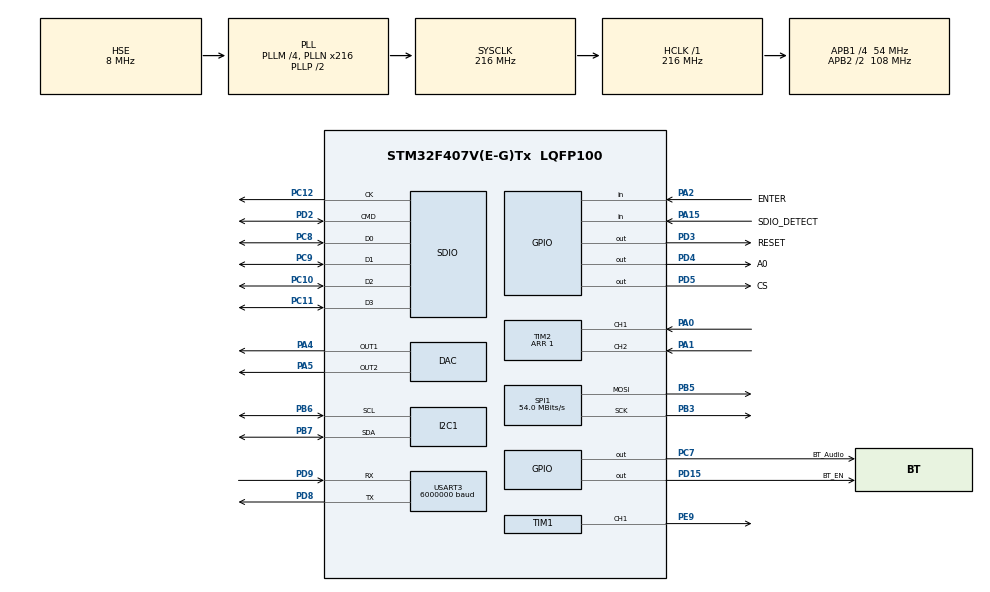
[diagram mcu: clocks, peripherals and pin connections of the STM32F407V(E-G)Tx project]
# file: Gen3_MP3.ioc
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DAC.DAC_Trigger=DAC_TRIGGER_T6_TRGO
DAC.DAC_Trigger2=DAC_TRIGGER_T6_TRGO
Dma.DAC1.2.Direction=DMA_MEMORY_TO_PERIPH
Dma.DAC1.2.FIFOMode=DMA_FIFOMODE_DISABLE
Dma.DAC1.2.Instance=DMA1_Stream5
Dma.DAC1.2.MemDataAlignment=DMA_MDATAALIGN_WORD
Dma.DAC1.2.MemInc=DMA_MINC_ENABLE
Dma.DAC1.2.Mode=DMA_CIRCULAR
Dma.DAC1.2.PeriphDataAlignment=DMA_PDATAALIGN_WORD
Dma.DAC1.2.PeriphInc=DMA_PINC_DISABLE
Dma.DAC1.2.Priority=DMA_PRIORITY_VERY_HIGH
Dma.Request0=USART3_TX
Dma.Request1=SPI1_TX
Dma.Request2=DAC1
Dma.Request3=SDIO_RX
Dma.Request4=SDIO_TX
Dma.SDIO_RX.3.Direction=DMA_PERIPH_TO_MEMORY
Dma.SDIO_RX.3.FIFOMode=DMA_FIFOMODE_ENABLE
Dma.SDIO_RX.3.FIFOThreshold=DMA_FIFO_THRESHOLD_FULL
Dma.SDIO_RX.3.Instance=DMA2_Stream6
Dma.SDIO_RX.3.MemBurst=DMA_MBURST_INC4
Dma.SDIO_RX.3.MemDataAlignment=DMA_MDATAALIGN_BYTE
Dma.SDIO_RX.3.MemInc=DMA_MINC_ENABLE
Dma.SDIO_RX.3.Mode=DMA_PFCTRL
Dma.SDIO_RX.3.PeriphBurst=DMA_PBURST_INC4
Dma.SDIO_RX.3.PeriphDataAlignment=DMA_PDATAALIGN_WORD
Dma.SDIO_RX.3.PeriphInc=DMA_PINC_DISABLE
Dma.SDIO_RX.3.Priority=DMA_PRIORITY_HIGH
Dma.SDIO_TX.4.Direction=DMA_MEMORY_TO_PERIPH
Dma.SDIO_TX.4.FIFOMode=DMA_FIFOMODE_ENABLE
Dma.SDIO_TX.4.FIFOThreshold=DMA_FIFO_THRESHOLD_FULL
Dma.SDIO_TX.4.Instance=DMA2_Stream3
Dma.SDIO_TX.4.MemBurst=DMA_MBURST_INC4
Dma.SDIO_TX.4.MemDataAlignment=DMA_MDATAALIGN_WORD
Dma.SDIO_TX.4.MemInc=DMA_MINC_ENABLE
Dma.SDIO_TX.4.Mode=DMA_PFCTRL
Dma.SDIO_TX.4.PeriphBurst=DMA_PBURST_INC4
Dma.SDIO_TX.4.PeriphDataAlignment=DMA_PDATAALIGN_WORD
Dma.SDIO_TX.4.PeriphInc=DMA_PINC_DISABLE
Dma.SDIO_TX.4.Priority=DMA_PRIORITY_HIGH
Dma.SPI1_TX.1.Direction=DMA_MEMORY_TO_PERIPH
Dma.SPI1_TX.1.FIFOMode=DMA_FIFOMODE_DISABLE
Dma.SPI1_TX.1.Instance=DMA2_Stream5
Dma.SPI1_TX.1.MemDataAlignment=DMA_MDATAALIGN_HALFWORD
Dma.SPI1_TX.1.MemInc=DMA_MINC_ENABLE
Dma.SPI1_TX.1.Mode=DMA_NORMAL
Dma.SPI1_TX.1.PeriphDataAlignment=DMA_PDATAALIGN_HALFWORD
Dma.SPI1_TX.1.PeriphInc=DMA_PINC_DISABLE
Dma.SPI1_TX.1.Priority=DMA_PRIORITY_LOW
Dma.USART3_TX.0.Direction=DMA_MEMORY_TO_PERIPH
Dma.USART3_TX.0.FIFOMode=DMA_FIFOMODE_DISABLE
Dma.USART3_TX.0.Instance=DMA1_Stream3
Dma.USART3_TX.0.MemDataAlignment=DMA_MDATAALIGN_BYTE
Dma.USART3_TX.0.MemInc=DMA_MINC_ENABLE
Dma.USART3_TX.0.Mode=DMA_NORMAL
Dma.USART3_TX.0.PeriphDataAlignment=DMA_PDATAALIGN_BYTE
Dma.USART3_TX.0.PeriphInc=DMA_PINC_DISABLE
Dma.USART3_TX.0.Priority=DMA_PRIORITY_LOW
FATFS.BSP.number=1
FATFS._CODE_PAGE=850
FATFS._FS_LOCK=0
FATFS._FS_READONLY=1
FATFS._LFN_UNICODE=0
FATFS._MAX_LFN=64
FATFS._MAX_SS=4096
FATFS._USE_LFN=3
FATFS._USE_MKFS=0
FATFS0.BSP.STBoard=false
FATFS0.BSP.api=Unknown
FATFS0.BSP.instance=PA15
FATFS0.BSP.ip=GPIO
FATFS0.BSP.mode=Input
FATFS0.BSP.name=Detect_SDIO
FATFS0.BSP.solution=PA15
FREERTOS.BinarySemaphores01=myBinarySem01,Dynamic,NULL
FREERTOS.Tasks01=defaultTask,8,1024,StartDefaultTask,Default,NULL,Dynamic,NULL,NULL;myTaskKey,9,128,StartTaskKey,Default,NULL,Dynamic,NULL,NULL
FREERTOS.configENABLE_FPU=1
FREERTOS.configGENERATE_RUN_TIME_STATS=1
FREERTOS.configIDLE_SHOULD_YIELD=0
FREERTOS.configRECORD_STACK_HIGH_ADDRESS=1
FREERTOS.configTOTAL_HEAP_SIZE=50000
FREERTOS.configUSE_MALLOC_FAILED_HOOK=1
FREERTOS.configUSE_NEWLIB_REENTRANT=1
FREERTOS.configUSE_OS2_MUTEX=1
FREERTOS.configUSE_OS2_TIMER=1
FREERTOS.configUSE_STATS_FORMATTING_FUNCTIONS=1
FREERTOS.configUSE_TRACE_FACILITY=1
Mcu.Family=STM32F4
Mcu.Name=STM32F407V(E-G)Tx
Mcu.Package=LQFP100
NVIC.DMA1_Stream3_IRQn=true\:5\:0\:false\:false\:true\:true\:false\:true\:true
NVIC.DMA1_Stream5_IRQn=true\:5\:0\:true\:false\:false\:true\:false\:true\:true
NVIC.DMA2_Stream3_IRQn=true\:5\:0\:true\:false\:true\:true\:false\:true\:true
NVIC.DMA2_Stream5_IRQn=true\:5\:0\:false\:false\:true\:false\:false\:true\:true
NVIC.DMA2_Stream6_IRQn=true\:5\:0\:false\:false\:true\:true\:false\:true\:true
NVIC.PriorityGroup=NVIC_PRIORITYGROUP_4
NVIC.SDIO_IRQn=true\:5\:0\:false\:false\:true\:true\:true\:true\:true
NVIC.TIM1_TRG_COM_TIM11_IRQn=true\:5\:0\:false\:false\:true\:true\:true\:true\:true
NVIC.TIM2_IRQn=true\:15\:0\:true\:false\:false\:true\:true\:true\:true
NVIC.TIM8_TRG_COM_TIM14_IRQn=true\:15\:0\:false\:false\:true\:false\:false\:true\:true
NVIC.TimeBase=TIM8_TRG_COM_TIM14_IRQn
NVIC.TimeBaseIP=TIM14
NVIC.USART3_IRQn=true\:5\:0\:false\:false\:true\:true\:true\:true\:true
PA0-WKUP.Signal=S_TIM2_CH1_ETR
PA1.Signal=S_TIM2_CH2
PA13.Mode=Serial_Wire
PA13.Signal=SYS_JTMS-SWDIO
PA14.Mode=Serial_Wire
PA14.Signal=SYS_JTCK-SWCLK
PA15.GPIO_Label=SDIO_DETECT
PA15.GPIO_PuPd=GPIO_PULLDOWN
PA15.Signal=GPIO_Input
PA2.GPIO_Label=ENTER
PA2.Signal=GPIO_Input
PA4.Signal=COMP_DAC1_group
PA5.Signal=COMP_DAC2_group
PB3.Mode=TX_Only_Simplex_Unidirect_Master
PB3.Signal=SPI1_SCK
PB5.Mode=TX_Only_Simplex_Unidirect_Master
PB5.Signal=SPI1_MOSI
PB6.Mode=I2C
PB6.Signal=I2C1_SCL
PB7.Mode=I2C
PB7.Signal=I2C1_SDA
PC10.GPIO_PuPd=GPIO_PULLUP
PC10.Mode=SD_4_bits_Wide_bus
PC10.Signal=SDIO_D2
PC11.GPIO_PuPd=GPIO_PULLUP
PC11.Mode=SD_4_bits_Wide_bus
PC11.Signal=SDIO_D3
PC12.GPIO_PuPd=GPIO_PULLUP
PC12.Mode=SD_4_bits_Wide_bus
PC12.Signal=SDIO_CK
PC7.GPIO_Label=BT_Audio
PC7.Signal=GPIO_Output
PC8.GPIO_PuPd=GPIO_PULLUP
PC8.Mode=SD_4_bits_Wide_bus
PC8.Signal=SDIO_D0
PC9.GPIO_PuPd=GPIO_PULLUP
PC9.Mode=SD_4_bits_Wide_bus
PC9.Signal=SDIO_D1
PD15.GPIO_Label=BT_EN
PD15.Signal=GPIO_Output
PD2.GPIO_PuPd=GPIO_PULLUP
PD2.Mode=SD_4_bits_Wide_bus
PD2.Signal=SDIO_CMD
PD3.GPIO_Label=RESET
PD3.Signal=GPIO_Output
PD4.GPIO_Label=A0
PD4.Signal=GPIO_Output
PD5.GPIO_Label=CS
PD5.Signal=GPIO_Output
PD8.Mode=Asynchronous
PD8.Signal=USART3_TX
PD9.Mode=Asynchronous
PD9.Signal=USART3_RX
PE9.Signal=S_TIM1_CH1
PH0-OSC_IN.Mode=HSE-External-Oscillator
PH0-OSC_IN.Signal=RCC_OSC_IN
PH1-OSC_OUT.Mode=HSE-External-Oscillator
PH1-OSC_OUT.Signal=RCC_OSC_OUT
ProjectManager.HeapSize=0x00
ProjectManager.StackSize=0x800
ProjectManager.TargetToolchain=STM32CubeIDE
RCC.48MHZClocksFreq_Value=48000000
RCC.AHBFreq_Value=216000000
RCC.APB1CLKDivider=RCC_HCLK_DIV4
RCC.APB1Freq_Value=54000000
RCC.APB1TimFreq_Value=108000000
RCC.APB2CLKDivider=RCC_HCLK_DIV2
RCC.APB2Freq_Value=108000000
RCC.APB2TimFreq_Value=216000000
RCC.CortexFreq_Value=216000000
RCC.HCLKFreq_Value=216000000
RCC.HSE_VALUE=8000000
RCC.HSI_VALUE=16000000
RCC.LSE_VALUE=32768
RCC.PLLM=4
RCC.PLLN=216
RCC.PLLQ=9
RCC.PLLSourceVirtual=RCC_PLLSOURCE_HSE
RCC.SYSCLKFreq_VALUE=216000000
RCC.SYSCLKSource=RCC_SYSCLKSOURCE_PLLCLK
RCC.VCOOutputFreq_Value=432000000
SDIO.ClockBypass=SDIO_CLOCK_BYPASS_ENABLE
SDIO.ClockDiv=4
SDIO.ClockPowerSave=SDIO_CLOCK_POWER_SAVE_DISABLE
SDIO.HardwareFlowControl=SDIO_HARDWARE_FLOW_CONTROL_DISABLE
SH.COMP_DAC1_group.0=DAC_OUT1,DAC_OUT1
SH.COMP_DAC2_group.0=DAC_OUT2,DAC_OUT2
SH.S_TIM1_CH1.0=TIM1_CH1,PWM Generation1 CH1
SH.S_TIM2_CH1_ETR.0=TIM2_CH1,Encoder_Interface
SH.S_TIM2_CH2.0=TIM2_CH2,Encoder_Interface
SPI1.BaudRatePrescaler=SPI_BAUDRATEPRESCALER_2
SPI1.CLKPolarity=SPI_POLARITY_HIGH
SPI1.CalculateBaudRate=54.0 MBits/s
SPI1.Direction=SPI_DIRECTION_2LINES
SPI1.Mode=SPI_MODE_MASTER
SPI1.VirtualType=VM_MASTER
TIM1.Channel-PWM\ Generation1\ CH1=TIM_CHANNEL_1
TIM1.Period=255
TIM1.Prescaler=216
TIM12.Period=1000
TIM12.Prescaler=107
TIM2.IC1Filter=15
TIM2.IC1Prescaler=TIM_ICPSC_DIV8
TIM2.IC2Filter=15
TIM2.IC2Prescaler=TIM_ICPSC_DIV8
TIM2.Period=1
TIM2.TIM_MasterOutputTrigger=TIM_TRGO_UPDATE
TIM3.Period=50000
TIM3.Prescaler=215
TIM3.TIM_MasterOutputTrigger=TIM_TRGO_UPDATE
TIM6.Period=216
TIM6.TIM_MasterOutputTrigger=TIM_TRGO_UPDATE
USART3.BaudRate=6000000
USART3.Mode=MODE_TX
USART3.OverSampling=UART_OVERSAMPLING_8
USART3.StopBits=STOPBITS_2
USART3.VirtualMode=VM_ASYNC
VP_CRC_VS_CRC.Mode=CRC_Activate
VP_FATFS_VS_SDIO.Mode=SDIO
VP_FREERTOS_VS_CMSIS_V2.Mode=CMSIS_V2
VP_SYS_VS_tim14.Mode=TIM14
VP_TIM12_VS_ClockSourceINT.Mode=Internal
VP_TIM1_VS_ClockSourceINT.Mode=Internal
VP_TIM3_VS_ClockSourceINT.Mode=Internal
VP_TIM5_VS_ClockSourceINT.Mode=Internal
VP_TIM6_VS_ClockSourceINT.Mode=Enable_Timer
board=custom

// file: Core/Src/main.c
/* USER CODE BEGIN Header */
/**
  ******************************************************************************
  * @file           : main.c
  * @brief          : Main program body
  ******************************************************************************
  * @attention
  *
  * Copyright (c) 2022 STMicroelectronics.
  * All rights reserved.
  *
  * This software is licensed under terms that can be found in the LICENSE file
  * in the root directory of this software component.
  * If no LICENSE file comes with this software, it is provided AS-IS.
  *
  ******************************************************************************
  */
/* USER CODE END Header */
#include "main.h"
#include "cmsis_os.h"
#include "crc.h"
#include "dac.h"
#include "dma.h"
#include "fatfs.h"
#include "i2c.h"
#include "sdio.h"
#include "spi.h"
#include "tim.h"
#include "usart.h"
#include "gpio.h"

/* USER CODE BEGIN Includes */
#include "mp3dec.h"
extern void main_cpp(void);
uint16_t res;
/* USER CODE END Includes */

void SystemClock_Config(void);
void MX_FREERTOS_Init(void);

int main(void)
{
  /* USER CODE BEGIN 1 */
	__disable_irq(); //????????? ??????????
	//SCB->VTOR = 0x8060000;
	SCB->VTOR = 0x8040000;

	uint32_t *p;
	p = (uint32_t *)(0x10000000);
	int count = 16384;
	while(count--)
		*p++ = 0;

	__enable_irq(); //????????? ??????????
  /* USER CODE END 1 */

  /* MCU Configuration--------------------------------------------------------*/

  /* Reset of all peripherals, Initializes the Flash interface and the Systick. */
  HAL_Init();

  /* Configure the system clock */
  SystemClock_Config();

  /* USER CODE BEGIN SysInit */
  MX_DMA_Init();
  /* USER CODE END SysInit */

  /* Initialize all configured peripherals */
  MX_GPIO_Init();
  MX_DMA_Init();
  MX_CRC_Init();
  MX_SDIO_SD_Init();
  MX_USART3_UART_Init();
  MX_FATFS_Init();
  MX_SPI1_Init();
  MX_DAC_Init();
  MX_I2C1_Init();
  MX_TIM1_Init();
  MX_TIM2_Init();
  MX_TIM3_Init();
  MX_TIM5_Init();
  MX_TIM6_Init();
  MX_TIM12_Init();
  /* USER CODE BEGIN 2 */
  BSP_SD_Init();

  //Encoder
  TIM2->SR &= ~TIM_SR_UIF; // clear UIF flag
  HAL_TIM_Base_Start(&htim2);
  HAL_TIM_Base_Start_IT(&htim2);
  TIM2->DIER |= TIM_DIER_UIE;

  TIM1->CCR1 = 75;
  HAL_TIM_PWM_Start(&htim1, TIM_CHANNEL_1);

  /* USER CODE END 2 */

  /* Init scheduler */
  osKernelInitialize();  /* Call init function for freertos objects (in freertos.c) */
  MX_FREERTOS_Init();

  /* Start scheduler */
  osKernelStart();

  /* We should never get here as control is now taken by the scheduler */
  /* Infinite loop */
  while (1)
  {

  }
}

void SystemClock_Config(void)
{
  RCC_OscInitTypeDef RCC_OscInitStruct = {0};
  RCC_ClkInitTypeDef RCC_ClkInitStruct = {0};

  /** Configure the main internal regulator output voltage
  */
  __HAL_RCC_PWR_CLK_ENABLE();
  __HAL_PWR_VOLTAGESCALING_CONFIG(PWR_REGULATOR_VOLTAGE_SCALE1);

  /** Initializes the RCC Oscillators according to the specified parameters
  * in the RCC_OscInitTypeDef structure.
  */
  RCC_OscInitStruct.OscillatorType = RCC_OSCILLATORTYPE_HSE;
  RCC_OscInitStruct.HSEState = RCC_HSE_ON;
  RCC_OscInitStruct.PLL.PLLState = RCC_PLL_ON;
  RCC_OscInitStruct.PLL.PLLSource = RCC_PLLSOURCE_HSE;
  RCC_OscInitStruct.PLL.PLLM = 4;
  RCC_OscInitStruct.PLL.PLLN = 216;
  RCC_OscInitStruct.PLL.PLLP = RCC_PLLP_DIV2;
  RCC_OscInitStruct.PLL.PLLQ = 9;
  if (HAL_RCC_OscConfig(&RCC_OscInitStruct) != HAL_OK)
  {
    Error_Handler();
  }

  /** Initializes the CPU, AHB and APB buses clocks
  */
  RCC_ClkInitStruct.ClockType = RCC_CLOCKTYPE_HCLK|RCC_CLOCKTYPE_SYSCLK
                              |RCC_CLOCKTYPE_PCLK1|RCC_CLOCKTYPE_PCLK2;
  RCC_ClkInitStruct.SYSCLKSource = RCC_SYSCLKSOURCE_PLLCLK;
  RCC_ClkInitStruct.AHBCLKDivider = RCC_SYSCLK_DIV1;
  RCC_ClkInitStruct.APB1CLKDivider = RCC_HCLK_DIV4;
  RCC_ClkInitStruct.APB2CLKDivider = RCC_HCLK_DIV2;

  if (HAL_RCC_ClockConfig(&RCC_ClkInitStruct, FLASH_LATENCY_5) != HAL_OK)
  {
    Error_Handler();
  }
}

void HAL_TIM_PeriodElapsedCallback(TIM_HandleTypeDef *htim)
{
  if (htim->Instance == TIM14) {
    HAL_IncTick();
  }
}

void Error_Handler(void)
{
  __disable_irq();
  while (1)
  {
  }
}

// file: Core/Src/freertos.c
/* USER CODE BEGIN Header */
/**
  ******************************************************************************
  * File Name          : freertos.c
  * Description        : Code for freertos applications
  ******************************************************************************
  * @attention
  *
  * Copyright (c) 2022 STMicroelectronics.
  * All rights reserved.
  *
  * This software is licensed under terms that can be found in the LICENSE file
  * in the root directory of this software component.
  * If no LICENSE file comes with this software, it is provided AS-IS.
  *
  ******************************************************************************
  */
/* USER CODE END Header */

#include "FreeRTOS.h"
#include "task.h"
#include "main.h"
#include "cmsis_os.h"

/* USER CODE BEGIN Includes */
extern void main_cpp(void);
extern void KEY_tick(void);
/* USER CODE END Includes */

/* Definitions for defaultTask */
osThreadId_t defaultTaskHandle;
const osThreadAttr_t defaultTask_attributes = {
  .name = "defaultTask",
  .stack_size = 1024 * 4,
  .priority = (osPriority_t) osPriorityLow,
};
/* Definitions for myTaskKey */
osThreadId_t myTaskKeyHandle;
const osThreadAttr_t myTaskKey_attributes = {
  .name = "myTaskKey",
  .stack_size = 128 * 4,
  .priority = (osPriority_t) osPriorityLow1,
};
/* Definitions for myBinarySem01 */
osSemaphoreId_t myBinarySem01Handle;
const osSemaphoreAttr_t myBinarySem01_attributes = {
  .name = "myBinarySem01"
};

void StartDefaultTask(void *argument);
void StartTaskKey(void *argument);

void MX_FREERTOS_Init(void); /* (MISRA C 2004 rule 8.1) */

/* Hook prototypes */
void configureTimerForRunTimeStats(void);
unsigned long getRunTimeCounterValue(void);
void vApplicationMallocFailedHook(void);

/* USER CODE BEGIN 1 */
/* Functions needed when configGENERATE_RUN_TIME_STATS is on */
__weak void configureTimerForRunTimeStats(void)
{

}

__weak unsigned long getRunTimeCounterValue(void)
{
return 0;
}
/* USER CODE END 1 */

/* USER CODE BEGIN 5 */
void vApplicationMallocFailedHook(void)
{
   /* vApplicationMallocFailedHook() will only be called if
   configUSE_MALLOC_FAILED_HOOK is set to 1 in FreeRTOSConfig.h. It is a hook
   function that will get called if a call to pvPortMalloc() fails.
   pvPortMalloc() is called internally by the kernel whenever a task, queue,
   timer or semaphore is created. It is also called by various parts of the
   demo application. If heap_1.c or heap_2.c are used, then the size of the
   heap available to pvPortMalloc() is defined by configTOTAL_HEAP_SIZE in
   FreeRTOSConfig.h, and the xPortGetFreeHeapSize() API function can be used
   to query the size of free heap space that remains (although it does not
   provide information on how the remaining heap might be fragmented). */
}
/* USER CODE END 5 */

void MX_FREERTOS_Init(void) {
  /* USER CODE BEGIN Init */
	vTraceEnable(TRC_START);
  /* USER CODE END Init */

  /* Create the semaphores(s) */
  /* creation of myBinarySem01 */
  myBinarySem01Handle = osSemaphoreNew(1, 1, &myBinarySem01_attributes);

  /* Create the thread(s) */
  /* creation of defaultTask */
  defaultTaskHandle = osThreadNew(StartDefaultTask, NULL, &defaultTask_attributes);

  /* creation of myTaskKey */
  myTaskKeyHandle = osThreadNew(StartTaskKey, NULL, &myTaskKey_attributes);

}

void StartDefaultTask(void *argument)
{
  /* USER CODE BEGIN StartDefaultTask */
	main_cpp();
  /* Infinite loop */
  for(;;)
  {
    osDelay(1);
  }
  /* USER CODE END StartDefaultTask */
}

void StartTaskKey(void *argument)
{
  /* USER CODE BEGIN StartTaskKey */
  /* Infinite loop */
  for(;;)
  {
	KEY_tick();
    osDelay(10);
  }
  /* USER CODE END StartTaskKey */
}
